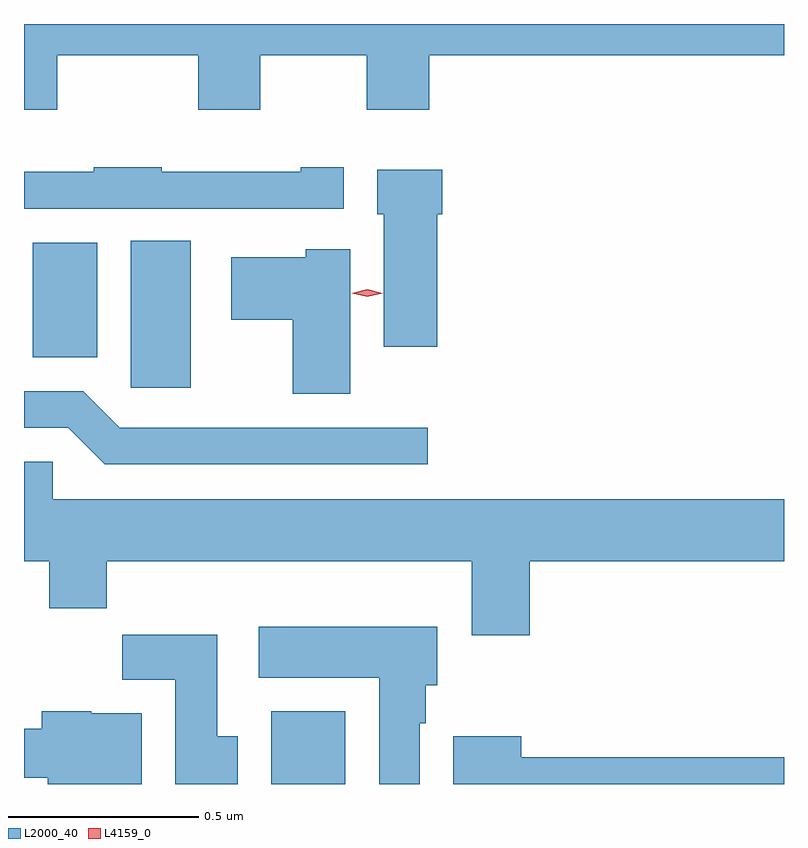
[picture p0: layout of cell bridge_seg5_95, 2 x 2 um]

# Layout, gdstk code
import gdstk
lib = gdstk.Library(unit=1e-6, precision=1e-09)
def R(c, l, rs):  # rectangles x0, y0, x1, y1
    for r in rs: c.add(gdstk.rectangle(r[:2], r[2:], *l))
def P(c, l, *ps):  # polygons
    for p in ps: c.add(gdstk.Polygon(p, *l))
L2000_40 = (2000, 40)
L4159_0 = (4159, 0)

bridge_seg5_95 = lib.new_cell('bridge_seg5_95')
R(bridge_seg5_95, L2000_40, [(597.743,872.158,597.939,872.35), (597.374,873.201,597.532,873.587), (597.116,873.281,597.286,873.583)])
P(bridge_seg5_95, L2000_40, [(597.181,874.076),(597.551,874.076),(597.551,873.933),(597.715,873.933),(597.715,874.076),(597.995,874.076),(597.995,873.933),(598.159,873.933),(598.159,874.076),(599.093,874.076),(599.093,874.158),(597.093,874.158),(597.093,873.933),(597.181,873.933)],
  [(597.934,873.781),(597.821,873.781),(597.821,873.769),(597.455,873.769),(597.455,873.781),(597.277,873.781),(597.277,873.769),(597.093,873.769),(597.093,873.672),(597.934,873.672)],
  [(598.181,873.657),(598.193,873.657),(598.193,873.775),(598.022,873.775),(598.022,873.657),(598.04,873.657),(598.04,873.309),(598.181,873.309)],
  [(597.952,873.565),(597.834,873.565),(597.834,873.544),(597.639,873.544),(597.639,873.38),(597.8,873.38),(597.8,873.185),(597.952,873.185)],
  [(598.156,873.096),(597.345,873.096),(597.249,873.192),(597.093,873.192),(597.093,873.096),(597.21,873.096),(597.306,873),(598.156,873)],
  [(598.424,872.744),(599.093,872.744),(599.093,872.908),(597.168,872.908),(597.168,873.006),(597.093,873.006),(597.093,872.744),(597.16,872.744),(597.16,872.62),(597.311,872.62),(597.311,872.744),(598.271,872.744),(598.271,872.55),(598.424,872.55)],
  [(598.135,872.318),(598.15,872.318),(598.15,872.418),(598.18,872.418),(598.18,872.572),(597.711,872.572),(597.711,872.438),(598.028,872.438),(598.028,872.158),(598.135,872.158)],
  [(597.655,872.284),(597.601,872.284),(597.601,872.551),(597.352,872.551),(597.352,872.432),(597.491,872.432),(597.491,872.158),(597.655,872.158)],
  [(597.403,872.344),(597.27,872.344),(597.27,872.35),(597.14,872.35),(597.14,872.304),(597.093,872.304),(597.093,872.174),(597.156,872.174),(597.156,872.158),(597.403,872.158)],
  [(599.093,872.228),(598.402,872.228),(598.402,872.284),(598.223,872.284),(598.223,872.158),(599.093,872.158)])
P(bridge_seg5_95, L4159_0, [(597.996,873.44),(597.956,873.449),(597.955,873.45),(597.956,873.45),(597.996,873.46),(598.037,873.45),(598.037,873.45),(598.037,873.45)])

lib.write_gds('bridge_seg5_95.gds')
